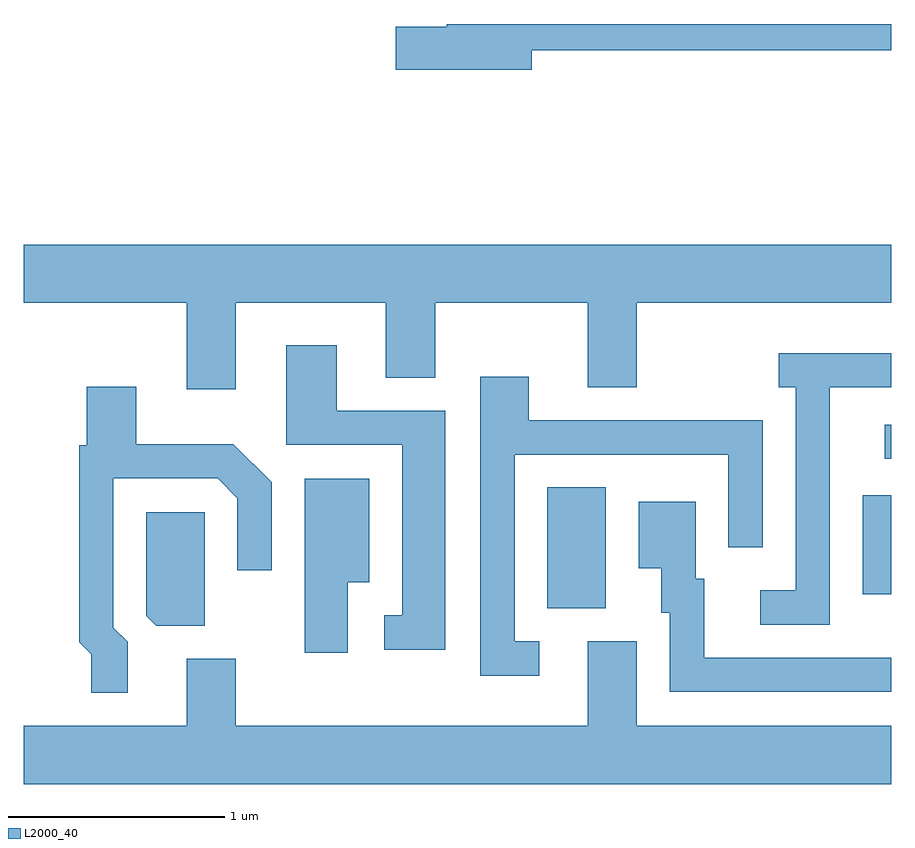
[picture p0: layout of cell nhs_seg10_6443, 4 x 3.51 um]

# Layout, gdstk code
import gdstk
lib = gdstk.Library(unit=1e-6, precision=1e-09)
def R(c, l, rs):  # rectangles x0, y0, x1, y1
    for r in rs: c.add(gdstk.rectangle(r[:2], r[2:], *l))
def P(c, l, *ps):  # polygons
    for p in ps: c.add(gdstk.Polygon(p, *l))
L2000_40 = (2000, 40)

nhs_seg10_6443 = lib.new_cell('nhs_seg10_6443')
R(nhs_seg10_6443, L2000_40, [(378.026,2125.826,378.294,2126.384), (379.481,2125.891,379.611,2126.349), (379.583,2126.516,379.611,2126.674)])
P(nhs_seg10_6443, L2000_40, [(377.954,2128.401),(379.611,2128.401),(379.611,2128.522),(377.561,2128.522),(377.561,2128.509),(377.326,2128.509),(377.326,2128.311),(377.954,2128.311)],
  [(376.589,2127.236),(377.281,2127.236),(377.281,2126.891),(377.509,2126.891),(377.509,2127.236),(378.211,2127.236),(378.211,2126.846),(378.439,2126.846),(378.439,2127.236),(379.611,2127.236),(379.611,2127.504),(375.611,2127.504),(375.611,2127.236),(376.361,2127.236),(376.361,2126.836),(376.589,2126.836)],
  [(377.554,2126.739),(377.054,2126.739),(377.054,2127.039),(376.821,2127.039),(376.821,2126.581),(377.356,2126.581),(377.356,2125.794),(377.273,2125.794),(377.273,2125.636),(377.554,2125.636)],
  [(379.329,2126.846),(379.611,2126.846),(379.611,2127.004),(379.093,2127.004),(379.093,2126.846),(379.171,2126.846),(379.171,2125.909),(379.008,2125.909),(379.008,2125.751),(379.329,2125.751)],
  [(377.988,2125.674),(377.874,2125.674),(377.874,2126.536),(378.861,2126.536),(378.861,2126.108),(379.019,2126.108),(379.019,2126.694),(377.939,2126.694),(377.939,2126.894),(377.716,2126.894),(377.716,2125.516),(377.988,2125.516)],
  [(376.089,2125.672),(376.024,2125.737),(376.024,2126.426),(376.504,2126.426),(376.596,2126.334),(376.596,2126.003),(376.754,2126.003),(376.754,2126.407),(376.577,2126.584),(376.129,2126.584),(376.129,2126.849),(375.901,2126.849),(375.901,2126.579),(375.866,2126.579),(375.866,2125.669),(375.921,2125.614),(375.921,2125.438),(376.089,2125.438)],
  [(377.104,2125.946),(377.204,2125.946),(377.204,2126.424),(376.906,2126.424),(376.906,2125.621),(377.104,2125.621)],
  [(379.611,2125.599),(378.749,2125.599),(378.749,2125.964),(378.709,2125.964),(378.709,2126.319),(378.446,2126.319),(378.446,2126.011),(378.551,2126.011),(378.551,2125.806),(378.591,2125.806),(378.591,2125.441),(379.611,2125.441)],
  [(376.444,2126.269),(376.176,2126.269),(376.176,2125.792),(376.222,2125.746),(376.444,2125.746)],
  [(379.611,2125.284),(378.439,2125.284),(378.439,2125.674),(378.211,2125.674),(378.211,2125.284),(376.589,2125.284),(376.589,2125.594),(376.361,2125.594),(376.361,2125.284),(375.611,2125.284),(375.611,2125.016),(379.611,2125.016)])

lib.write_gds('nhs_seg10_6443.gds')
